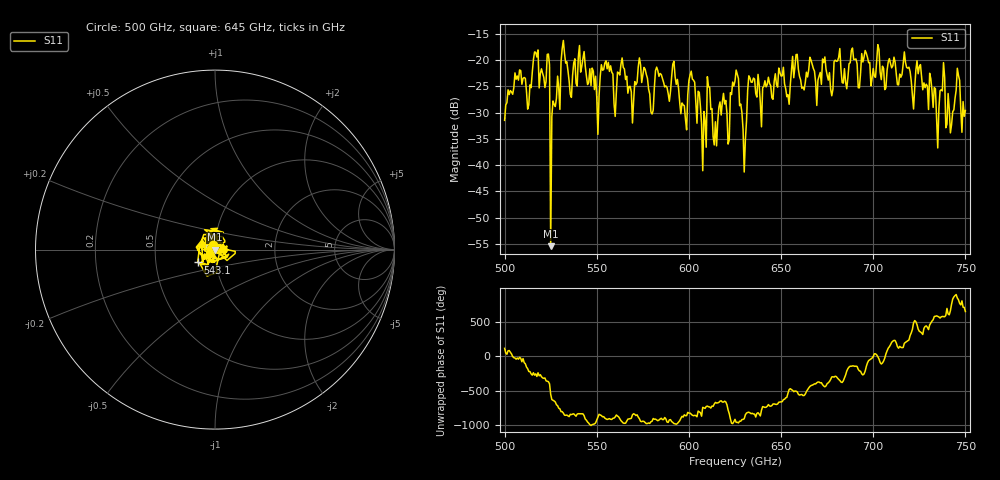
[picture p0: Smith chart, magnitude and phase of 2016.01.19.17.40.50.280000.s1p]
!Created with skrf (http://scikit-rf.org).
# GHz S RI R 50.0
!freq ReS11 ImS11
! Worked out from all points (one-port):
!   401 points, 500 GHz to 750 GHz, reference 50 ohm
!   lowest |S11| = -55.4 dB at 525 GHz (marker M1), VSWR 1.00, Z = 49.8 + j0.0422 ohm
!   |S11| at or under -10 dB: start of sweep to end of sweep
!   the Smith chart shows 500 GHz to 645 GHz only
!   S11 on the Smith chart (normalised r, x): 500 GHz: 0.98, +0.05; 543.1 GHz: 0.82, -0.12; 645 GHz: 1.09, +0.00
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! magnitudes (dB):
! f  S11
! 500 GHz  -31.5
! 506.9 GHz  -23.0
! 513.1 GHz  -28.5
! 516.9 GHz  -18.5
! 523.1 GHz  -18.9
! 525 GHz  -55.4
! 526.2 GHz  -27.8
! 531.2 GHz  -17.8
! 543.1 GHz  -18.4
! 550 GHz  -27.1
! 562.5 GHz  -22.9
! 576.2 GHz  -21.7
! 579.4 GHz  -29.9
! 583.1 GHz  -22.0
! 593.8 GHz  -23.7
! 597.5 GHz  -28.7
! 601.9 GHz  -23.6
! 608.1 GHz  -29.8
! 611.2 GHz  -25.2
! 614.4 GHz  -31.8
! 625 GHz  -24.0
! 630 GHz  -41.3
! 633.8 GHz  -24.2
! 645 GHz  -27.2
! 656.2 GHz  -19.3
! 687.5 GHz  -20.5
! 718.8 GHz  -21.5
! 750 GHz  -29.6
